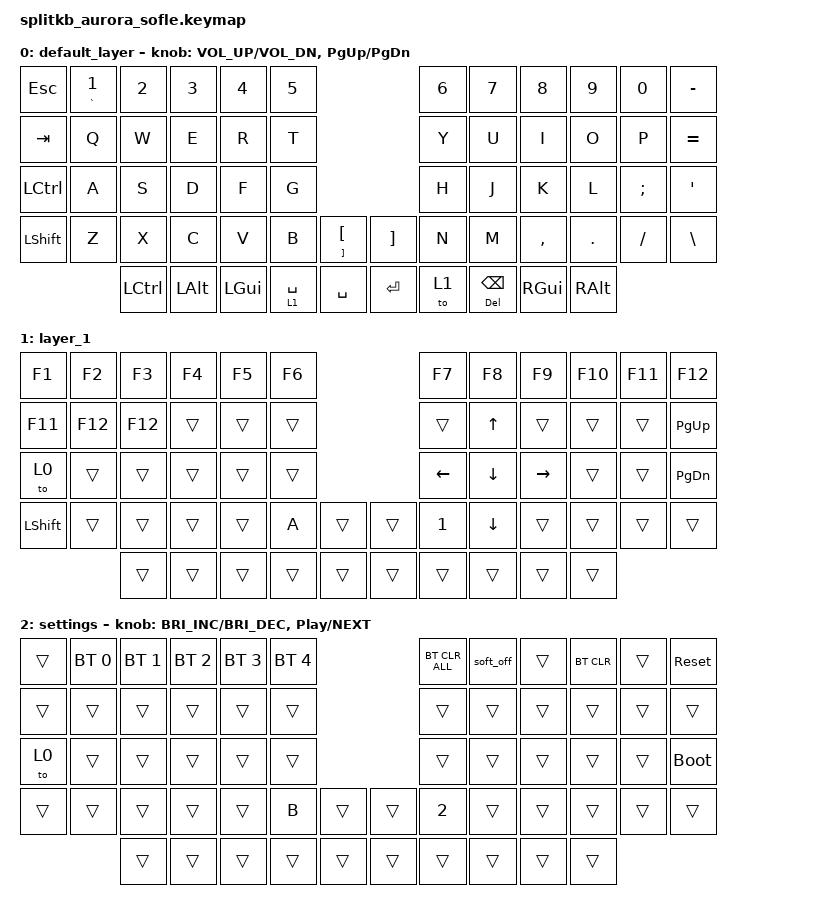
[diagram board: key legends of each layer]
/*
 * Copyright (c) 2023 The ZMK Contributors
 *
 * SPDX-License-Identifier: MIT
 */

#include <behaviors.dtsi>
#include <dt-bindings/zmk/bt.h>
#include <dt-bindings/zmk/keys.h>

/* Uncomment this block if using RGB
&led_strip {
    chain-length = <6>;
    // chain-length = <35>; // Uncomment if using both per-key and underglow LEDs
    // chain-length = <29>; // Uncomment if using only per-key LEDs.
};
 */

/ {
    combos {
        compatible = "zmk,combos";

        sett {
            bindings = <&to 2>;
            key-positions = <53 56>;
        };
    };

    keymap {
        compatible = "zmk,keymap";

        default_layer {
            // ------------------------------------------------------------------------------------------------------------
            // |  ESC  |  1  |  2  |  3   |  4   |  5   |                   |  6   |  7    |  8    |  9   |   0   |   `   |
            // |  TAB  |  Q  |  W  |  E   |  R   |  T   |                   |  Y   |  U    |  I    |  O   |   P   |   -   |
            // |  CTRL |  A  |  S  |  D   |  F   |  G   |                   |  H   |  J    |  K    |  L   |   ;   |   '   |
            // | SHIFT |  Z  |  X  |  C   |  V   |  B   |   "["  |  |  "]"  |  N   |  M    |  ,    |  .   |   /   | SHIFT |
            //               |CTRL | ALT  | GUI  | LOWER|  SPACE |  | ENTER | RAISE| BSPC  | GUI   | RALT |

            bindings = <
&kp ESC    &mt GRAVE N1  &kp N2     &kp N3    &kp N4    &kp N5                                  &kp N6  &kp N7             &kp N8     &kp N9    &kp N0    &kp MINUS
&kp TAB    &kp Q         &kp W      &kp E     &kp R     &kp T                                   &kp Y   &kp U              &kp I      &kp O     &kp P     &kp EQUAL
&kp LCTRL  &kp A         &kp S      &kp D     &kp F     &kp G                                   &kp H   &kp J              &kp K      &kp L     &kp SEMI  &kp SQT
&kp LSHFT  &kp Z         &kp X      &kp C     &kp V     &kp B        &mt RBKT LBKT    &kp RBKT  &kp N   &kp M              &kp COMMA  &kp DOT   &kp FSLH  &kp BACKSLASH
                         &kp LCTRL  &kp LALT  &kp LGUI  &lt 1 SPACE  &kp SPACE        &kp RET   &to 1   &mt DEL BACKSPACE  &kp RGUI   &kp RALT
            >;

            sensor-bindings =
                <&inc_dec_kp C_VOL_UP C_VOL_DN>,
                <&inc_dec_kp PG_UP PAGE_DOWN>;
        };

        layer_1 {
            bindings = <
&kp F1          &kp F2   &kp F3   &kp F4  &kp F5  &kp F6                    &kp F7        &kp F8          &kp F9     &kp F10  &kp F11  &kp F12
&kp F11         &kp F12  &kp F12  &trans  &trans  &trans                    &trans        &kp UP_ARROW    &trans     &trans   &trans   &kp PG_UP
&to 0           &trans   &trans   &trans  &trans  &trans                    &kp LEFT      &kp DOWN_ARROW  &kp RIGHT  &trans   &trans   &kp PAGE_DOWN
&kp LEFT_SHIFT  &trans   &trans   &trans  &trans  &kp A   &trans    &trans  &kp NUMBER_1  &kp DOWN_ARROW  &trans     &trans   &trans   &trans
                         &trans   &trans  &trans  &trans  &trans    &trans  &trans        &trans          &trans     &trans
            >;
        };

        settings {
            bindings = <
&trans  &bt BT_SEL 0  &bt BT_SEL 1  &bt BT_SEL 2  &bt BT_SEL 3  &bt BT_SEL 4                    &bt BT_CLR_ALL  &soft_off  &trans  &bt BT_CLR  &trans  &sys_reset
&trans  &trans        &trans        &trans        &trans        &trans                          &trans          &trans     &trans  &trans      &trans  &trans
&to 0   &trans        &trans        &trans        &trans        &trans                          &trans          &trans     &trans  &trans      &trans  &bootloader
&trans  &trans        &trans        &trans        &trans        &kp B         &trans    &trans  &kp NUMBER_2    &trans     &trans  &trans      &trans  &trans
                      &trans        &trans        &trans        &trans        &trans    &trans  &trans          &trans     &trans  &trans
            >;

            sensor-bindings =
                <&inc_dec_kp C_BRIGHTNESS_INC C_BRIGHTNESS_DEC>,
                <&inc_dec_kp C_PLAY_PAUSE C_NEXT>;
        };
    };
};
